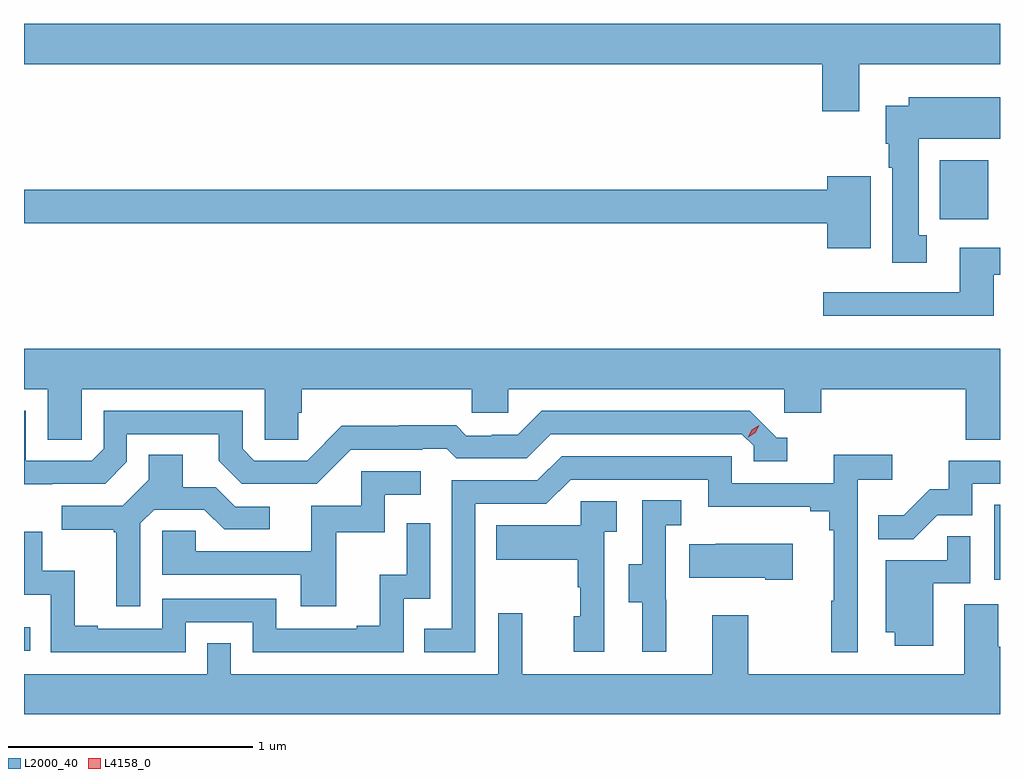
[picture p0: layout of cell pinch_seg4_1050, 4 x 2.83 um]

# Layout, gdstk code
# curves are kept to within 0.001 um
import gdstk
lib = gdstk.Library(unit=1e-6, precision=1e-09)
def R(c, l, rs):  # rectangles x0, y0, x1, y1
    for r in rs: c.add(gdstk.rectangle(r[:2], r[2:], *l))
def P(c, l, *ps):  # polygons
    for p in ps: c.add(gdstk.Polygon(p, *l))
L2000_40 = (2000, 40)
L4158_0 = (4158, 0)

pinch_seg4_1050 = lib.new_cell('pinch_seg4_1050')
R(pinch_seg4_1050, L2000_40, [(850.252,755.787,850.277,755.884), (854.228,756.078,854.252,756.385), (854.006,757.556,854.203,757.798)])
P(pinch_seg4_1050, L2000_40, [(853.675,758.192),(854.252,758.192),(854.252,758.356),(850.252,758.356),(850.252,758.192),(853.523,758.192),(853.523,757.998),(853.675,757.998)],
  [(853.951,757.49),(853.918,757.49),(853.918,757.886),(854.252,757.886),(854.252,758.056),(853.877,758.056),(853.877,758.02),(853.784,758.02),(853.784,757.866),(853.796,757.866),(853.796,757.766),(853.811,757.766),(853.811,757.377),(853.951,757.377)],
  [(853.723,757.732),(853.544,757.732),(853.544,757.676),(850.252,757.676),(850.252,757.54),(853.544,757.54),(853.544,757.436),(853.723,757.436)],
  [(854.227,757.329),(854.252,757.329),(854.252,757.438),(854.087,757.438),(854.087,757.257),(853.527,757.257),(853.527,757.16),(854.227,757.16)],
  [(850.488,756.86),(851.238,756.86),(851.238,756.652),(851.375,756.652),(851.375,756.762),(851.39,756.762),(851.39,756.86),(852.087,756.86),(852.087,756.762),(852.237,756.762),(852.237,756.86),(853.368,756.86),(853.368,756.762),(853.52,756.762),(853.52,756.86),(854.111,756.86),(854.111,756.652),(854.252,756.652),(854.252,757.024),(850.252,757.024),(850.252,756.86),(850.349,756.86),(850.349,756.652),(850.488,756.652)],
  [(850.368,756.471),(850.584,756.471),(850.674,756.561),(850.674,756.675),(851.051,756.675),(851.051,756.565),(851.145,756.471),(851.451,756.471),(851.592,756.612),(851.885,756.612),(851.885,756.615),(851.984,756.615),(852.023,756.576),(852.312,756.576),(852.411,756.675),(853.194,756.675),(853.242,756.627),(853.242,756.564),(853.381,756.564),(853.381,756.66),(853.338,756.66),(853.227,756.771),(852.374,756.771),(852.275,756.672),(852.168,756.672),(852.168,756.669),(852.065,756.669),(852.023,756.712),(851.79,756.712),(851.79,756.709),(851.554,756.709),(851.412,756.567),(851.196,756.567),(851.148,756.615),(851.148,756.771),(850.578,756.771),(850.578,756.615),(850.53,756.567),(850.26,756.567),(850.26,756.771),(850.252,756.771),(850.252,756.47)],
  [(852.102,756.39),(852.393,756.39),(852.492,756.489),(853.056,756.489),(853.056,756.377),(853.475,756.377),(853.475,756.358),(853.552,756.358),(853.552,756.281),(853.571,756.281),(853.571,755.993),(853.56,755.993),(853.56,755.781),(853.668,755.781),(853.668,756.488),(853.81,756.488),(853.81,756.59),(853.571,756.59),(853.571,756.474),(853.152,756.474),(853.152,756.585),(852.455,756.585),(852.356,756.486),(852.006,756.486),(852.006,755.877),(851.893,755.877),(851.893,755.781),(852.102,755.781)],
  [(850.728,756.309),(850.785,756.366),(850.991,756.366),(851.072,756.285),(851.26,756.285),(851.26,756.378),(851.118,756.378),(851.038,756.458),(850.903,756.458),(850.903,756.59),(850.763,756.59),(850.763,756.488),(850.656,756.381),(850.407,756.381),(850.407,756.284),(850.62,756.284),(850.62,756.273),(850.631,756.273),(850.631,755.97),(850.728,755.97)],
  [(853.994,756.342),(854.139,756.342),(854.139,756.471),(854.252,756.471),(854.252,756.567),(854.041,756.567),(854.041,756.45),(853.964,756.45),(853.857,756.343),(853.753,756.343),(853.753,756.245),(853.897,756.245)],
  [(851.531,756.273),(851.73,756.273),(851.73,756.426),(851.878,756.426),(851.878,756.522),(851.634,756.522),(851.634,756.381),(851.429,756.381),(851.429,756.195),(850.955,756.195),(850.955,756.279),(850.818,756.279),(850.818,756.099),(851.387,756.099),(851.387,755.97),(851.531,755.97)],
  [(852.884,755.997),(852.882,755.997),(852.882,756.301),(852.946,756.301),(852.946,756.404),(852.786,756.404),(852.786,756.141),(852.731,756.141),(852.731,755.986),(852.785,755.986),(852.785,755.784),(852.884,755.784)],
  [(852.63,756.275),(852.682,756.275),(852.682,756.399),(852.534,756.399),(852.534,756.301),(852.187,756.301),(852.187,756.161),(852.522,756.161),(852.522,756.047),(852.532,756.047),(852.532,755.928),(852.506,755.928),(852.506,755.784),(852.63,755.784)],
  [(850.914,755.904),(851.19,755.904),(851.19,755.781),(851.808,755.781),(851.808,756),(851.916,756),(851.916,756.31),(851.82,756.31),(851.82,756.098),(851.711,756.098),(851.711,755.89),(851.615,755.89),(851.615,755.877),(851.286,755.877),(851.286,756),(850.818,756),(850.818,755.877),(850.555,755.877),(850.555,755.89),(850.459,755.89),(850.459,756.115),(850.326,756.115),(850.326,756.276),(850.252,756.276),(850.252,756.017),(850.362,756.017),(850.362,755.781),(850.914,755.781)],
  [(853.978,756.063),(854.13,756.063),(854.13,756.257),(854.035,756.257),(854.035,756.159),(853.784,756.159),(853.784,755.864),(853.82,755.864),(853.82,755.808),(853.978,755.808)],
  [(853.402,756.226),(853.087,756.226),(853.087,756.223),(852.979,756.223),(852.979,756.086),(853.289,756.086),(853.289,756.079),(853.402,756.079)],
  [(854.252,755.804),(854.245,755.804),(854.245,755.978),(854.105,755.978),(854.105,755.692),(853.221,755.692),(853.221,755.932),(853.073,755.932),(853.073,755.692),(852.293,755.692),(852.293,755.941),(852.195,755.941),(852.195,755.692),(851.1,755.692),(851.1,755.819),(851.004,755.819),(851.004,755.692),(850.252,755.692),(850.252,755.528),(854.252,755.528)])
P(pinch_seg4_1050, L4158_0, [(853.218,756.661),(853.218,756.661),(853.235,756.693),(853.266,756.712),(853.266,756.712),(853.266,756.712),(853.249,756.68),(853.218,756.661)])

lib.write_gds('pinch_seg4_1050.gds')
